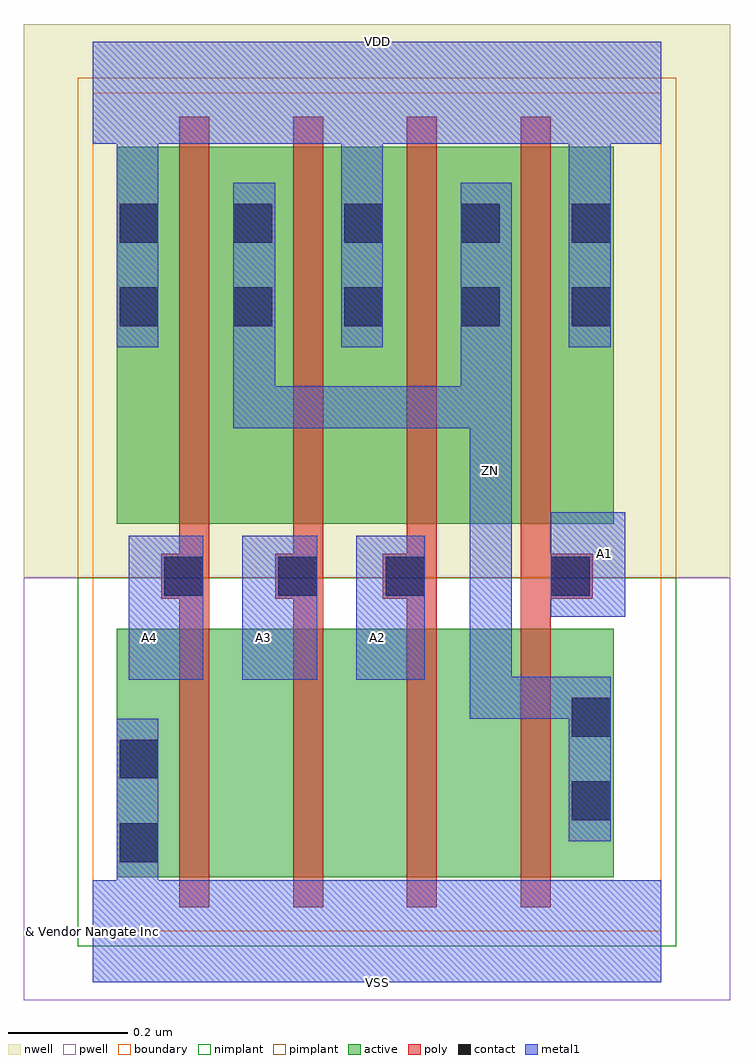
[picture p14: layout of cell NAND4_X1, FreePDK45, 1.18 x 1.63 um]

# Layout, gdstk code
import gdstk
lib = gdstk.Library(unit=1e-6, precision=1e-10)
def R(c, l, rs):  # rectangles x0, y0, x1, y1
    for r in rs: c.add(gdstk.rectangle(r[:2], r[2:], *l))
def P(c, l, *ps):  # polygons
    for p in ps: c.add(gdstk.Polygon(p, *l))
active = (1, 0)
pwell = (2, 0)
nwell = (3, 0)
nimplant = (4, 0)
pimplant = (5, 0)
poly = (9, 0)
contact = (10, 0)
metal1 = (11, 0)
boundary = (235, 0)

nand4_x1 = lib.new_cell('NAND4_X1')
R(nand4_x1, active, [(0.04,0.09,0.87,0.505), (0.04,0.68,0.87,1.31)])
R(nand4_x1, pwell, [(-0.115,-0.115,1.065,0.59)])
R(nand4_x1, nwell, [(-0.115,0.59,1.065,1.515)])
R(nand4_x1, nimplant, [(-0.025,-0.025,0.975,0.59)])
R(nand4_x1, pimplant, [(-0.025,0.59,0.975,1.425)])
P(nand4_x1, poly, [(0.145,0.04),(0.145,0.555),(0.115,0.555),(0.115,0.63),(0.145,0.63),(0.145,1.36),(0.195,1.36),(0.195,0.04)],
  [(0.335,0.04),(0.335,0.555),(0.305,0.555),(0.305,0.63),(0.335,0.63),(0.335,1.36),(0.385,1.36),(0.385,0.04)],
  [(0.525,0.04),(0.525,0.555),(0.485,0.555),(0.485,0.63),(0.525,0.63),(0.525,1.36),(0.575,1.36),(0.575,0.04)],
  [(0.715,0.04),(0.715,1.36),(0.765,1.36),(0.765,0.63),(0.835,0.63),(0.835,0.555),(0.765,0.555),(0.765,0.04)])
R(nand4_x1, contact, [(0.045,0.115,0.11,0.18), (0.8,0.185,0.865,0.25), (0.045,0.255,0.11,0.32), (0.8,0.325,0.865,0.39), (0.12,0.56,0.185,0.625), (0.31,0.56,0.375,0.625), (0.49,0.56,0.555,0.625), (0.765,0.56,0.83,0.625), (0.045,1.01,0.11,1.075), (0.235,1.01,0.3,1.075), (0.42,1.01,0.485,1.075), (0.615,1.01,0.68,1.075), (0.8,1.01,0.865,1.075), (0.045,1.15,0.11,1.215), (0.235,1.15,0.3,1.215), (0.42,1.15,0.485,1.215), (0.615,1.15,0.68,1.215), (0.8,1.15,0.865,1.215)])
R(nand4_x1, metal1, [(0.06,0.42,0.185,0.66), (0.25,0.42,0.375,0.66), (0.44,0.42,0.555,0.66), (0.765,0.525,0.89,0.7)])
P(nand4_x1, metal1, [(0.795,0.15),(0.795,0.355),(0.63,0.355),(0.63,0.84),(0.235,0.84),(0.235,1.25),(0.305,1.25),(0.305,0.91),(0.615,0.91),(0.615,1.25),(0.7,1.25),(0.7,0.425),(0.865,0.425),(0.865,0.15)],
  [(0,-0.085),(0,0.085),(0.04,0.085),(0.04,0.355),(0.11,0.355),(0.11,0.085),(0.95,0.085),(0.95,-0.085)],
  [(0.04,0.975),(0.04,1.315),(0,1.315),(0,1.485),(0.95,1.485),(0.95,1.315),(0.865,1.315),(0.865,0.975),(0.795,0.975),(0.795,1.315),(0.485,1.315),(0.485,0.975),(0.415,0.975),(0.415,1.315),(0.11,1.315),(0.11,0.975)])
R(nand4_x1, boundary, [(0,0,0.95,1.4)])
nand4_x1.add(gdstk.Label('A1', (0.855,0.63), layer=11, texttype=0))
nand4_x1.add(gdstk.Label('A2', (0.475,0.49), layer=11, texttype=0))
nand4_x1.add(gdstk.Label('A3', (0.285,0.49), layer=11, texttype=0))
nand4_x1.add(gdstk.Label('A4', (0.095,0.49), layer=11, texttype=0))
nand4_x1.add(gdstk.Label('VDD', (0.475,1.485), layer=11, texttype=0))
nand4_x1.add(gdstk.Label('VSS', (0.475,-0.085), layer=11, texttype=0))
nand4_x1.add(gdstk.Label('ZN', (0.665,0.77), layer=11, texttype=0))
nand4_x1.add(gdstk.Label('& Vendor Nangate Inc', (0,0), layer=63, texttype=63))
nand4_x1.add(gdstk.Label('& Product Open Cell Library', (0,0), layer=63, texttype=63))
nand4_x1.add(gdstk.Label('& Version 2010_12', (0,0), layer=63, texttype=63))
nand4_x1.add(gdstk.Label('& Instance NAND4_X1', (0,0), layer=63, texttype=63))

lib.write_gds('NAND4_X1.gds')
